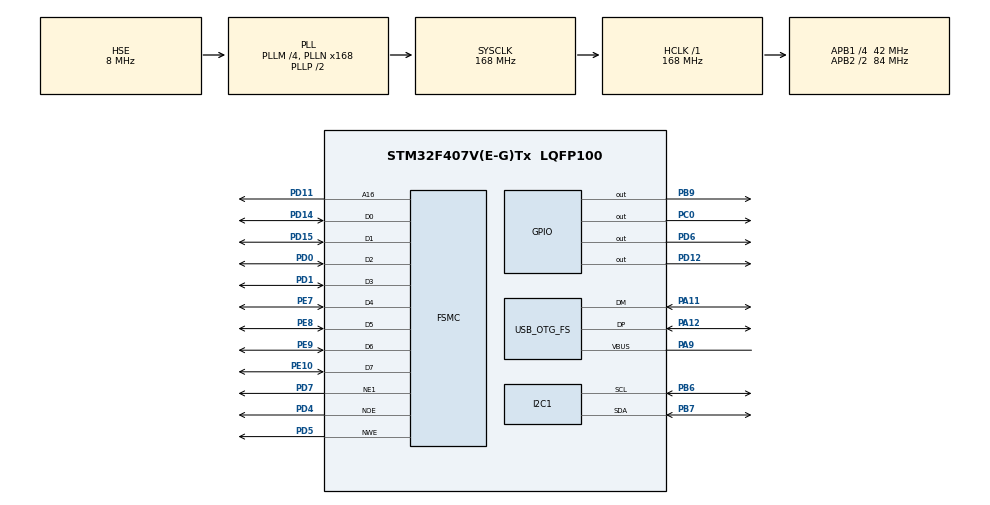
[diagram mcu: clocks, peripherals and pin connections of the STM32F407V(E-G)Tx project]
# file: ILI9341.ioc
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FATFS._MAX_SS=4096
FSMC.AddressSetupTime1=2
FSMC.DataSetupTime1=15
FSMC.ExtendedAddressSetupTime1=2
FSMC.ExtendedBusTurnAroundDuration1=3
FSMC.ExtendedDataSetupTime1=3
FSMC.ExtendedMode1=FSMC_EXTENDED_MODE_ENABLE
Mcu.Family=STM32F4
Mcu.Name=STM32F407V(E-G)Tx
Mcu.Package=LQFP100
NVIC.OTG_FS_IRQn=true\:0\:0\:false\:false\:true
NVIC.PriorityGroup=NVIC_PRIORITYGROUP_4
PA11.Mode=Host_Only
PA11.Signal=USB_OTG_FS_DM
PA12.Mode=Host_Only
PA12.Signal=USB_OTG_FS_DP
PA9.Mode=Activate_VBUS
PA9.Signal=USB_OTG_FS_VBUS
PB6.Mode=I2C
PB6.Signal=I2C1_SCL
PB7.Mode=I2C
PB7.Signal=I2C1_SDA
PB9.Signal=GPIO_Output
PC0.Signal=GPIO_Output
PD0.Mode=8b-d1
PD0.Signal=FSMC_D2
PD1.Mode=8b-d1
PD1.Signal=FSMC_D3
PD11.Mode=A16_1
PD11.Signal=FSMC_A16
PD12.Signal=GPIO_Output
PD14.Mode=8b-d1
PD14.Signal=FSMC_D0
PD15.Mode=8b-d1
PD15.Signal=FSMC_D1
PD4.Mode=Lcd1
PD4.Signal=FSMC_NOE
PD5.Mode=Lcd1
PD5.Signal=FSMC_NWE
PD6.Signal=GPIO_Output
PD7.Mode=NorPsramChipSelect1_1
PD7.Signal=FSMC_NE1
PE10.Mode=8b-d1
PE10.Signal=FSMC_D7
PE7.Mode=8b-d1
PE7.Signal=FSMC_D4
PE8.Mode=8b-d1
PE8.Signal=FSMC_D5
PE9.Mode=8b-d1
PE9.Signal=FSMC_D6
PH0-OSC_IN.Mode=HSE-External-Oscillator
PH0-OSC_IN.Signal=RCC_OSC_IN
PH1-OSC_OUT.Mode=HSE-External-Oscillator
PH1-OSC_OUT.Signal=RCC_OSC_OUT
ProjectManager.HeapSize=0x200
ProjectManager.StackSize=0x400
ProjectManager.TargetToolchain=MDK-ARM V5
RCC.48MHZClocksFreq_Value=48000000
RCC.AHBFreq_Value=168000000
RCC.APB1CLKDivider=RCC_HCLK_DIV4
RCC.APB1Freq_Value=42000000
RCC.APB1TimFreq_Value=84000000
RCC.APB2CLKDivider=RCC_HCLK_DIV2
RCC.APB2Freq_Value=84000000
RCC.APB2TimFreq_Value=168000000
RCC.CortexFreq_Value=168000000
RCC.HCLKFreq_Value=168000000
RCC.HSE_VALUE=8000000
RCC.HSI_VALUE=16000000
RCC.LSE_VALUE=32768
RCC.PLLM=4
RCC.PLLN=168
RCC.PLLQ=7
RCC.SYSCLKFreq_VALUE=168000000
RCC.SYSCLKSource=RCC_SYSCLKSOURCE_PLLCLK
RCC.VCOOutputFreq_Value=336000000
USB_HOST.USBH_HandleTypeDef-MSC_FS=hUsbHostFS
USB_HOST.VirtualModeFS=Msc
USB_OTG_FS.phy_itface=HCD_PHY_EMBEDDED
VP_FATFS_VS_USB.Mode=USB
VP_RNG_VS_RNG.Mode=RNG_Activate
VP_USB_HOST_VS_USB_HOST_MSC_FS.Mode=MSC_FS
board=ILI9341

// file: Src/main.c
/**
  ******************************************************************************
  * File Name          : main.c
  * Description        : Main program body
  ******************************************************************************
  *
  * COPYRIGHT(c) 2016 STMicroelectronics
  *
  * Redistribution and use in source and binary forms, with or without modification,
  * are permitted provided that the following conditions are met:
  *   1. Redistributions of source code must retain the above copyright notice,
  *      this list of conditions and the following disclaimer.
  *   2. Redistributions in binary form must reproduce the above copyright notice,
  *      this list of conditions and the following disclaimer in the documentation
  *      and/or other materials provided with the distribution.
  *   3. Neither the name of STMicroelectronics nor the names of its contributors
  *      may be used to endorse or promote products derived from this software
  *      without specific prior written permission.
  *
  * THIS SOFTWARE IS PROVIDED BY THE COPYRIGHT HOLDERS AND CONTRIBUTORS "AS IS"
  * AND ANY EXPRESS OR IMPLIED WARRANTIES, INCLUDING, BUT NOT LIMITED TO, THE
  * IMPLIED WARRANTIES OF MERCHANTABILITY AND FITNESS FOR A PARTICULAR PURPOSE ARE
  * DISCLAIMED. IN NO EVENT SHALL THE COPYRIGHT HOLDER OR CONTRIBUTORS BE LIABLE
  * FOR ANY DIRECT, INDIRECT, INCIDENTAL, SPECIAL, EXEMPLARY, OR CONSEQUENTIAL
  * DAMAGES (INCLUDING, BUT NOT LIMITED TO, PROCUREMENT OF SUBSTITUTE GOODS OR
  * SERVICES; LOSS OF USE, DATA, OR PROFITS; OR BUSINESS INTERRUPTION) HOWEVER
  * CAUSED AND ON ANY THEORY OF LIABILITY, WHETHER IN CONTRACT, STRICT LIABILITY,
  * OR TORT (INCLUDING NEGLIGENCE OR OTHERWISE) ARISING IN ANY WAY OUT OF THE USE
  * OF THIS SOFTWARE, EVEN IF ADVISED OF THE POSSIBILITY OF SUCH DAMAGE.
  *
  ******************************************************************************
  */
#include "stm32f4xx_hal.h"
#include "fatfs.h"
#include "usb_host.h"

/* USER CODE BEGIN Includes */
#include "main.h"
/* USER CODE END Includes */

I2C_HandleTypeDef hi2c1;

RNG_HandleTypeDef hrng;

SRAM_HandleTypeDef hsram1;

/* USER CODE BEGIN PV */
/* Private variables ---------------------------------------------------------*/
extern ApplicationTypeDef Appli_state;
extern uint16_t X_SIZE;
extern uint16_t Y_SIZE;
FATFS USBDISKFatFs;
FIL MyFile;
extern USBH_HandleTypeDef hUsbHostFS;
/* USER CODE END PV */

void SystemClock_Config(void);
void Error_Handler(void);
static void MX_GPIO_Init(void);
static void MX_I2C1_Init(void);
static void MX_FSMC_Init(void);
static void MX_RNG_Init(void);
void MX_USB_HOST_Process(void);

/* USER CODE BEGIN PFP */
/* Private function prototypes -----------------------------------------------*/

/* USER CODE END PFP */

/* USER CODE BEGIN 0 */
//------------------------------------
__STATIC_INLINE void DelayMicro(uint32_t __IO micros)
{
	micros *=(SystemCoreClock/1000000)/5;
	while(micros--);
}
//------------------------------------
void FileReadWrite(void)
{
	uint8_t i=0;
	if(f_mount(&USBDISKFatFs,(TCHAR const*)USBH_Path,0)!=FR_OK)
	{
		Error_Handler();
	}
	else
	{
		while(1)
		{
			TFT9341_SetTextColor(YELLOW);
			TFT9341_SetBackColor(BLUE);
			TFT9341_SetFont(24);
			TFT9341_DrawChar(10,10,('S'));
			TFT9341_DrawChar(27,10,('t'));
			TFT9341_DrawChar(44,10,('m'));
			TFT9341_DrawChar(61,10,('3'));
			TFT9341_DrawChar(78,10,('2'));
			TFT9341_SetTextColor(GREEN);
			TFT9341_SetBackColor(RED);
			TFT9341_SetFont(20);
			TFT9341_DrawChar(10,34,('S'));
			TFT9341_DrawChar(24,34,('t'));
			TFT9341_DrawChar(38,34,('m'));
			TFT9341_DrawChar(52,34,('3'));
			TFT9341_DrawChar(66,34,('2'));
			TFT9341_SetTextColor(BLUE);
			TFT9341_SetBackColor(YELLOW);
			TFT9341_SetFont(16);
			TFT9341_DrawChar(10,54,('S'));
			TFT9341_DrawChar(21,54,('t'));
			TFT9341_DrawChar(32,54,('m'));
			TFT9341_DrawChar(43,54,('3'));
			TFT9341_DrawChar(54,54,('2'));
			TFT9341_SetTextColor(CYAN);
			TFT9341_SetBackColor(BLACK);
			TFT9341_SetFont(12);
			TFT9341_DrawChar(10,70,('S'));
			TFT9341_DrawChar(17,70,('t'));
			TFT9341_DrawChar(24,70,('m'));
			TFT9341_DrawChar(31,70,('3'));
			TFT9341_DrawChar(38,70,('2'));
			TFT9341_SetTextColor(RED);
			TFT9341_SetBackColor(GREEN);
			TFT9341_SetFont(8);
			TFT9341_DrawChar(10,82,('S'));
			TFT9341_DrawChar(15,82,('t'));
			TFT9341_DrawChar(20,82,('m'));
			TFT9341_DrawChar(25,82,('3'));
			TFT9341_DrawChar(30,82,('2'));
			TFT9341_SetTextColor(YELLOW);
			TFT9341_SetBackColor(BLUE);
			for(i=0;i<16;i++)
			{
				TFT9341_SetFont(24);
				TFT9341_FillScreen(BLACK);
				TFT9341_String(1,100,"ABCDEF12345678");
				TFT9341_SetFont(20);
				TFT9341_String(1,124,"ABCDEFGHI12345678");
				TFT9341_SetFont(16);
				TFT9341_String(1,144,"ABCDEFGHIKL123456789");
				TFT9341_SetFont(12);
				TFT9341_String(1,160,"ABCDEFGHIKLMNOPQRSTUVWXY 123456789");
				TFT9341_SetFont(8);
				TFT9341_String(1,172,"ABCDEFGHIKLMNOPQRSTUVWXYZ 123456789ABCDEFGHIKL");
				HAL_Delay(2000);
				TFT9341_SetRotation(i%4);
			}
			HAL_Delay(10000);
			TFT9341_FillScreen(BLACK);
			TFT9341_SetRotation(0);
			TFT9341_DrawBitmap(0,0,"001.bmp");
			HAL_Delay(5000);
			TFT9341_DrawBitmap(0, 0, "002.bmp");
			HAL_Delay(5000);
			TFT9341_DrawBitmap(0, 0, "003.bmp");
			HAL_Delay(5000);
			TFT9341_DrawBitmap(0, 0, "004.bmp");
			HAL_Delay(5000);
			TFT9341_DrawBitmap(0, 0, "005.bmp");
			HAL_Delay(5000);
			TFT9341_DrawBitmap(0, 0, "006.bmp");
			HAL_Delay(5000);
			TFT9341_DrawBitmap(0, 0, "007.bmp");
			HAL_Delay(5000);
			TFT9341_DrawBitmap(0, 0, "008.bmp");
			HAL_Delay(5000);
			TFT9341_DrawBitmap(0, 0, "009.bmp");
			HAL_Delay(5000);
			TFT9341_DrawBitmap(0, 0, "010.bmp");
			HAL_Delay(5000);
			TFT9341_DrawBitmap(0, 0, "011.bmp");
			HAL_Delay(5000);
			TFT9341_DrawBitmap(0, 0, "012.bmp");
			HAL_Delay(5000);
			TFT9341_DrawBitmap(0, 0, "013.bmp");
			HAL_Delay(5000);
			TFT9341_DrawBitmap(0, 0, "014.bmp");
			HAL_Delay(5000);
			TFT9341_DrawBitmap(0, 0, "015.bmp");
			HAL_Delay(5000);
			TFT9341_DrawBitmap(0, 0, "016.bmp");
			HAL_Delay(5000);
			TFT9341_DrawBitmap(0, 0, "017.bmp");
			HAL_Delay(5000);
			TFT9341_DrawBitmap(0, 0, "018.bmp");
			HAL_Delay(5000);
			TFT9341_DrawBitmap(0, 0, "019.bmp");
			HAL_Delay(5000);
			TFT9341_DrawBitmap(0, 0, "020.bmp");
			HAL_Delay(5000);
			TFT9341_DrawBitmap(0, 0, "021.bmp");
			HAL_Delay(5000);
			TFT9341_DrawBitmap(0, 0, "022.bmp");
			HAL_Delay(5000);
		}
	}
}
/* USER CODE END 0 */

int main(void)
{

  /* USER CODE BEGIN 1 */
	//char str[100];
	uint16_t i,j;
  /* USER CODE END 1 */

  /* MCU Configuration----------------------------------------------------------*/

  /* Reset of all peripherals, Initializes the Flash interface and the Systick. */
  HAL_Init();

  /* Configure the system clock */
  SystemClock_Config();

  /* Initialize all configured peripherals */
  MX_GPIO_Init();
  MX_I2C1_Init();
  MX_FATFS_Init();
  MX_USB_HOST_Init();
  MX_FSMC_Init();
  MX_RNG_Init();

  /* USER CODE BEGIN 2 */
	LCD_ini();
	LCD_Clear();
	TFT9341_ini();
	for(i=0;i<20;i++)
	{
		TFT9341_FillScreen(TFT9341_RandColor());
		HAL_Delay(150);
	}
	TFT9341_FillScreen(BLACK);
	HAL_Delay(500);
	for(i=0;i<20;i++)
	{
		TFT9341_FillRect(TFT9341_RandColor(), 0, 0, X_SIZE/2-1, Y_SIZE/2-1);
		HAL_Delay(100);
		TFT9341_FillRect(TFT9341_RandColor(), X_SIZE/2, 0, X_SIZE-1, Y_SIZE/2-1);
		HAL_Delay(100);
		TFT9341_FillRect(TFT9341_RandColor(), 0, Y_SIZE/2, X_SIZE/2-1, Y_SIZE-1);
		HAL_Delay(100);
		TFT9341_FillRect(TFT9341_RandColor(), X_SIZE/2, Y_SIZE/2, X_SIZE-1, Y_SIZE-1);
		HAL_Delay(100);
	}
	TFT9341_FillScreen(BLACK);
	HAL_Delay(500);
	for(i=0;i<15000;i++)
	{
		TFT9341_DrawPixel(HAL_RNG_GetRandomNumber(&hrng)%X_SIZE,
											HAL_RNG_GetRandomNumber(&hrng)%Y_SIZE,
											TFT9341_RandColor());
		DelayMicro(100);
	}
	TFT9341_FillScreen(BLACK);
	HAL_Delay(500);
	for(j=0;j<20;j++)
	{
		for(i=0;i<X_SIZE;i++)
		{

			TFT9341_DrawLine(TFT9341_RandColor(),i,0,i,Y_SIZE-1);
		}
	}
	TFT9341_FillScreen(BLACK);
	HAL_Delay(500);
	for(i=0;i<1000;i++)
	{
			TFT9341_DrawLine(TFT9341_RandColor(),
											 HAL_RNG_GetRandomNumber(&hrng)%X_SIZE,
											 HAL_RNG_GetRandomNumber(&hrng)%Y_SIZE,
											 HAL_RNG_GetRandomNumber(&hrng)%X_SIZE,
											 HAL_RNG_GetRandomNumber(&hrng)%Y_SIZE);
			HAL_Delay(10);
	}
	TFT9341_FillScreen(BLACK);
	HAL_Delay(500);
	for(j=0;j<20;j++)
	{
		for(i=0;i<X_SIZE/2;i++)
		{
			TFT9341_DrawRect(TFT9341_RandColor(), i, i, X_SIZE-i-1, Y_SIZE-i-1);
		}
	}
	TFT9341_FillScreen(BLACK);
	HAL_Delay(500);
	for(i=0;i<2000;i++)
	{
		TFT9341_DrawCircle(HAL_RNG_GetRandomNumber(&hrng)%(X_SIZE-40)+20,
											 HAL_RNG_GetRandomNumber(&hrng)%(Y_SIZE-40)+20,
											 20,TFT9341_RandColor());
		HAL_Delay(3);
	}
	TFT9341_FillScreen(BLACK);
	HAL_Delay(500);
  /* USER CODE END 2 */

  /* Infinite loop */
  while (1)
  {
    MX_USB_HOST_Process();

  /* USER CODE BEGIN 3 */
		if(Appli_state==APPLICATION_START)
		{
			FileReadWrite();
		}
		else if(Appli_state==APPLICATION_IDLE)
		{
		}
	}
  /* USER CODE END 3 */

}

/** System Clock Configuration
*/
void SystemClock_Config(void)
{

  RCC_OscInitTypeDef RCC_OscInitStruct;
  RCC_ClkInitTypeDef RCC_ClkInitStruct;

  __HAL_RCC_PWR_CLK_ENABLE();

  __HAL_PWR_VOLTAGESCALING_CONFIG(PWR_REGULATOR_VOLTAGE_SCALE1);

  RCC_OscInitStruct.OscillatorType = RCC_OSCILLATORTYPE_HSE;
  RCC_OscInitStruct.HSEState = RCC_HSE_ON;
  RCC_OscInitStruct.PLL.PLLState = RCC_PLL_ON;
  RCC_OscInitStruct.PLL.PLLSource = RCC_PLLSOURCE_HSE;
  RCC_OscInitStruct.PLL.PLLM = 4;
  RCC_OscInitStruct.PLL.PLLN = 168;
  RCC_OscInitStruct.PLL.PLLP = RCC_PLLP_DIV2;
  RCC_OscInitStruct.PLL.PLLQ = 7;
  if (HAL_RCC_OscConfig(&RCC_OscInitStruct) != HAL_OK)
  {
    Error_Handler();
  }

  RCC_ClkInitStruct.ClockType = RCC_CLOCKTYPE_HCLK|RCC_CLOCKTYPE_SYSCLK
                              |RCC_CLOCKTYPE_PCLK1|RCC_CLOCKTYPE_PCLK2;
  RCC_ClkInitStruct.SYSCLKSource = RCC_SYSCLKSOURCE_PLLCLK;
  RCC_ClkInitStruct.AHBCLKDivider = RCC_SYSCLK_DIV1;
  RCC_ClkInitStruct.APB1CLKDivider = RCC_HCLK_DIV4;
  RCC_ClkInitStruct.APB2CLKDivider = RCC_HCLK_DIV2;
  if (HAL_RCC_ClockConfig(&RCC_ClkInitStruct, FLASH_LATENCY_5) != HAL_OK)
  {
    Error_Handler();
  }

  HAL_SYSTICK_Config(HAL_RCC_GetHCLKFreq()/1000);

  HAL_SYSTICK_CLKSourceConfig(SYSTICK_CLKSOURCE_HCLK);

  /* SysTick_IRQn interrupt configuration */
  HAL_NVIC_SetPriority(SysTick_IRQn, 0, 0);
}

/* I2C1 init function */
static void MX_I2C1_Init(void)
{

  hi2c1.Instance = I2C1;
  hi2c1.Init.ClockSpeed = 100000;
  hi2c1.Init.DutyCycle = I2C_DUTYCYCLE_2;
  hi2c1.Init.OwnAddress1 = 0;
  hi2c1.Init.AddressingMode = I2C_ADDRESSINGMODE_7BIT;
  hi2c1.Init.DualAddressMode = I2C_DUALADDRESS_DISABLE;
  hi2c1.Init.OwnAddress2 = 0;
  hi2c1.Init.GeneralCallMode = I2C_GENERALCALL_DISABLE;
  hi2c1.Init.NoStretchMode = I2C_NOSTRETCH_DISABLE;
  if (HAL_I2C_Init(&hi2c1) != HAL_OK)
  {
    Error_Handler();
  }

}

/* RNG init function */
static void MX_RNG_Init(void)
{

  hrng.Instance = RNG;
  if (HAL_RNG_Init(&hrng) != HAL_OK)
  {
    Error_Handler();
  }

}

/** Configure pins as
        * Analog
        * Input
        * Output
        * EVENT_OUT
        * EXTI
*/
static void MX_GPIO_Init(void)
{

  GPIO_InitTypeDef GPIO_InitStruct;

  /* GPIO Ports Clock Enable */
  __HAL_RCC_GPIOH_CLK_ENABLE();
  __HAL_RCC_GPIOC_CLK_ENABLE();
  __HAL_RCC_GPIOE_CLK_ENABLE();
  __HAL_RCC_GPIOD_CLK_ENABLE();
  __HAL_RCC_GPIOA_CLK_ENABLE();
  __HAL_RCC_GPIOB_CLK_ENABLE();

  /*Configure GPIO pin Output Level */
  HAL_GPIO_WritePin(GPIOC, GPIO_PIN_0, GPIO_PIN_RESET);

  /*Configure GPIO pin Output Level */
  HAL_GPIO_WritePin(GPIOD, GPIO_PIN_12|GPIO_PIN_6, GPIO_PIN_RESET);

  /*Configure GPIO pin Output Level */
  HAL_GPIO_WritePin(GPIOB, GPIO_PIN_9, GPIO_PIN_RESET);

  /*Configure GPIO pin : PC0 */
  GPIO_InitStruct.Pin = GPIO_PIN_0;
  GPIO_InitStruct.Mode = GPIO_MODE_OUTPUT_PP;
  GPIO_InitStruct.Pull = GPIO_NOPULL;
  GPIO_InitStruct.Speed = GPIO_SPEED_FREQ_LOW;
  HAL_GPIO_Init(GPIOC, &GPIO_InitStruct);

  /*Configure GPIO pins : PD12 PD6 */
  GPIO_InitStruct.Pin = GPIO_PIN_12|GPIO_PIN_6;
  GPIO_InitStruct.Mode = GPIO_MODE_OUTPUT_PP;
  GPIO_InitStruct.Pull = GPIO_NOPULL;
  GPIO_InitStruct.Speed = GPIO_SPEED_FREQ_LOW;
  HAL_GPIO_Init(GPIOD, &GPIO_InitStruct);

  /*Configure GPIO pin : PB9 */
  GPIO_InitStruct.Pin = GPIO_PIN_9;
  GPIO_InitStruct.Mode = GPIO_MODE_OUTPUT_PP;
  GPIO_InitStruct.Pull = GPIO_NOPULL;
  GPIO_InitStruct.Speed = GPIO_SPEED_FREQ_LOW;
  HAL_GPIO_Init(GPIOB, &GPIO_InitStruct);

}

/* FSMC initialization function */
static void MX_FSMC_Init(void)
{
  FSMC_NORSRAM_TimingTypeDef Timing;
  FSMC_NORSRAM_TimingTypeDef ExtTiming;

  /** Perform the SRAM1 memory initialization sequence
  */
  hsram1.Instance = FSMC_NORSRAM_DEVICE;
  hsram1.Extended = FSMC_NORSRAM_EXTENDED_DEVICE;
  /* hsram1.Init */
  hsram1.Init.NSBank = FSMC_NORSRAM_BANK1;
  hsram1.Init.DataAddressMux = FSMC_DATA_ADDRESS_MUX_DISABLE;
  hsram1.Init.MemoryType = FSMC_MEMORY_TYPE_SRAM;
  hsram1.Init.MemoryDataWidth = FSMC_NORSRAM_MEM_BUS_WIDTH_8;
  hsram1.Init.BurstAccessMode = FSMC_BURST_ACCESS_MODE_DISABLE;
  hsram1.Init.WaitSignalPolarity = FSMC_WAIT_SIGNAL_POLARITY_LOW;
  hsram1.Init.WrapMode = FSMC_WRAP_MODE_DISABLE;
  hsram1.Init.WaitSignalActive = FSMC_WAIT_TIMING_BEFORE_WS;
  hsram1.Init.WriteOperation = FSMC_WRITE_OPERATION_ENABLE;
  hsram1.Init.WaitSignal = FSMC_WAIT_SIGNAL_DISABLE;
  hsram1.Init.ExtendedMode = FSMC_EXTENDED_MODE_ENABLE;
  hsram1.Init.AsynchronousWait = FSMC_ASYNCHRONOUS_WAIT_DISABLE;
  hsram1.Init.WriteBurst = FSMC_WRITE_BURST_DISABLE;
  hsram1.Init.PageSize = FSMC_PAGE_SIZE_NONE;
  /* Timing */
  Timing.AddressSetupTime = 2;
  Timing.AddressHoldTime = 15;
  Timing.DataSetupTime = 15;
  Timing.BusTurnAroundDuration = 15;
  Timing.CLKDivision = 16;
  Timing.DataLatency = 17;
  Timing.AccessMode = FSMC_ACCESS_MODE_A;
  /* ExtTiming */
  ExtTiming.AddressSetupTime = 2;
  ExtTiming.AddressHoldTime = 15;
  ExtTiming.DataSetupTime = 3;
  ExtTiming.BusTurnAroundDuration = 3;
  ExtTiming.CLKDivision = 16;
  ExtTiming.DataLatency = 17;
  ExtTiming.AccessMode = FSMC_ACCESS_MODE_A;

  if (HAL_SRAM_Init(&hsram1, &Timing, &ExtTiming) != HAL_OK)
  {
    Error_Handler();
  }

}

void Error_Handler(void)
{
  while(1)
  {
  }
}

/************************ (C) COPYRIGHT STMicroelectronics *****END OF FILE****/
